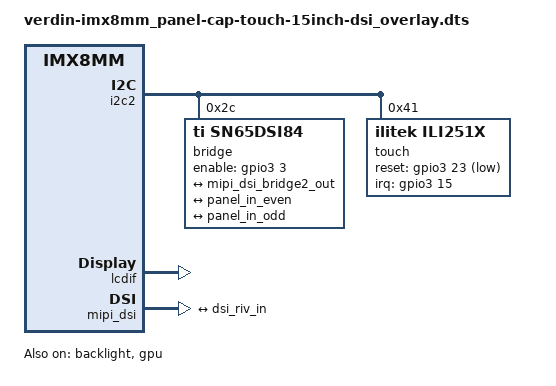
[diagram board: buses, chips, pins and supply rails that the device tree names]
// SPDX-License-Identifier: GPL-2.0-or-later OR MIT
/*
 * Copyright 2023 Toradex
 */

// Verdin with connected Capacitive Touch Display 15.6" DSI.

/dts-v1/;
/plugin/;

/ {
	compatible = "toradex,verdin-imx8mm";
};

#include <dt-bindings/interrupt-controller/arm-gic.h>
#include <dt-bindings/gpio/gpio.h>
#include "display-rvt156xxx_overlay.dtsi"

&backlight {
	pwms = <&pwm1 0 6666667 0>;
	status = "okay";
};

&gpu {
	status = "okay";
};

/* Verdin I2C_2_DSI */
&i2c2 {
	#address-cells = <1>;
	#size-cells = <0>;
	status = "okay";

	bridge@2c {
		compatible = "ti,sn65dsi84";
		reg = <0x2c>;
		/* IRQ not connected */
		/* Verdin GPIO_10_DSI (SODIMM 21) */
		enable-gpios = <&gpio3 3 GPIO_ACTIVE_HIGH>;
		pinctrl-names = "default";
		pinctrl-0 = <&pinctrl_gpio_10_dsi>;

		ports {
			#address-cells = <1>;
			#size-cells = <0>;

			port@0 {
				reg = <0>;

				dsi_riv_in: endpoint {
					data-lanes = <1 2 3 4>;
					remote-endpoint = <&mipi_dsi_bridge2_out>;
				};
			};

			port@2 {
				reg = <2>;

				lvds_out_panel_even: endpoint {
					remote-endpoint = <&panel_in_even>;
				};
			};

			port@3 {
				reg = <3>;

				lvds_out_panel_odd: endpoint {
					remote-endpoint = <&panel_in_odd>;
				};
			};
		};
	};

	touch@41 {
		compatible = "ilitek,ili251x";
		reg = <0x41>;
		interrupt-parent = <&gpio3>;
		interrupts = <15 IRQ_TYPE_EDGE_RISING>;
		pinctrl-names = "default";
		pinctrl-0 = <&pinctrl_gpio_9_dsi>, <&pinctrl_i2s_2_bclk_touch_reset>;
		reset-gpios = <&gpio3 23 GPIO_ACTIVE_LOW>;
		touchscreen-size-x = <1920>;
    	touchscreen-size-y = <1080>;
	};	
};

/* LCDIF to MIPI-DSI */
&lcdif {
	status = "okay";
};

&mipi_dsi {
	#address-cells = <1>;
	#size-cells = <0>;
	status = "okay";

	port@1 {
		mipi_dsi_bridge2_out: endpoint {
			attach-bridge;
			remote-endpoint = <&dsi_riv_in>;
		};
	};
};

